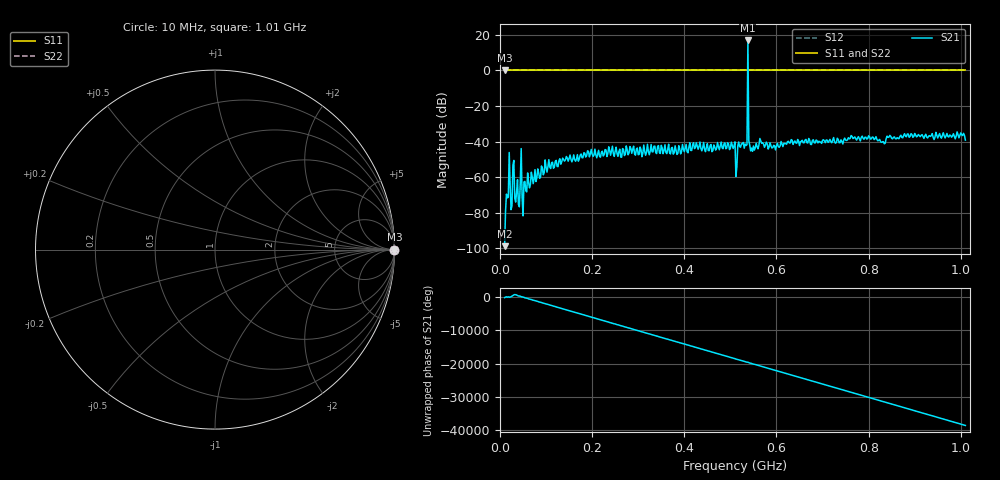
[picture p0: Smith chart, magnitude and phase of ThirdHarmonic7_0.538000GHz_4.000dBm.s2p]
! 8/17/2025 4:08:50 PM
! C:\ANRITSUVNA\TEMP\TEMP.S2P
! CHANNEL.1
! TR.MEASUREMENT
! RAW.DATA
! RF.CORRECTION.OFF
! AVERAGING.OFF
! IF.BANDWIDTH: 5KHZ
! SWEEPTYPE:  FREQ.SWEEP(Linear)
! Reference Plane Port Info
! PORT:  PORT1  PORT2
! DISTANCE:  0  m  0  m
! TIME:  0  s  0  s
! PHASE.OFFSET:  0  deg.  0  deg.
! LOSS:  0  dB  0  dB
! REF.LOSS:  0  dB  0  dB
! REF.FREQ:  0  Hz  0  Hz
! Power Info
! POWER:  -20  dBm  -20  dBm
! EFF.POWER:  -20  dBm  -20  dBm
! SOURCE.ATTEN:  0  dB  0  dB
! TEST.ATTEN:  0  dB  0  dB
# GHZ S RI R 50.0
! FREQ.GHZ  S11RE  S11IM  S21RE  S21IM  S12RE  S12IM  S22RE  S22IM
!; PortSelection: Port_12
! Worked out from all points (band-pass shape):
!   501 points, 10 MHz to 1.01 GHz, reference 50 ohm
!   highest |S21| = 16.87 dB at 538 MHz (marker M1); lowest = -98.8 dB at 10 MHz (marker M2)
!   |S21| within 3 dB of the highest: 537.8976 MHz to 538.1061 MHz (208.5 kHz wide, 0.0388 % of centre)
!   lowest |S11| = 0.0 dB at 10 MHz (marker M3)
!   |S11| at or under -10 dB: nowhere
!   |S22| runs from 0.0 to 0.0 dB; largest |S21 - S12| = 7.8
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0.01  1 0  -1.05e-05 -4.7e-06  1 0  1 0
0.018  1 0  3.4e-05 0.00027  1 0  1 0
0.032  1 0  0.000162 0.000198  1 0  1 0
0.038  1 0  -0.000464 0.000714  1 0  1 0
0.042  1 0  0.000118 -8.78e-05  1 0  1 0
0.05  1 0  7.74e-05 -2.69e-05  1 0  1 0
0.052  1 0  0.000258 -0.000687  1 0  1 0
0.056  1 0  0.000166 0.00038  1 0  1 0
0.102  1 0  0.00104 0.000925  1 0  1 0
0.178  1 0  -0.00338 -0.00102  1 0  1 0
0.344  1 0  0.00757 -0.00146  1 0  1 0
0.506  1 0  0.00633 -0.00101  1 0  1 0
0.51  1 0  -0.00933 -0.00314  1 0  1 0
0.52  1 0  -0.00563 0.00456  1 0  1 0
0.532  1 0  0.00707 0.00482  1 0  1 0
0.534  1 0  0.00275 -0.00725  1 0  1 0
0.538  1 0  -5.76 -3.933  1 0  1 0
0.542  1 0  0.00691 -0.00381  1 0  1 0
0.544  1 0  -0.000223 -0.00547  1 0  1 0
0.678  1 0  0.00578 -0.00913  1 0  1 0
0.844  1 0  -0.00683 0.0115  1 0  1 0
1.01  1 0  0.000553 -0.011  1 0  1 0
